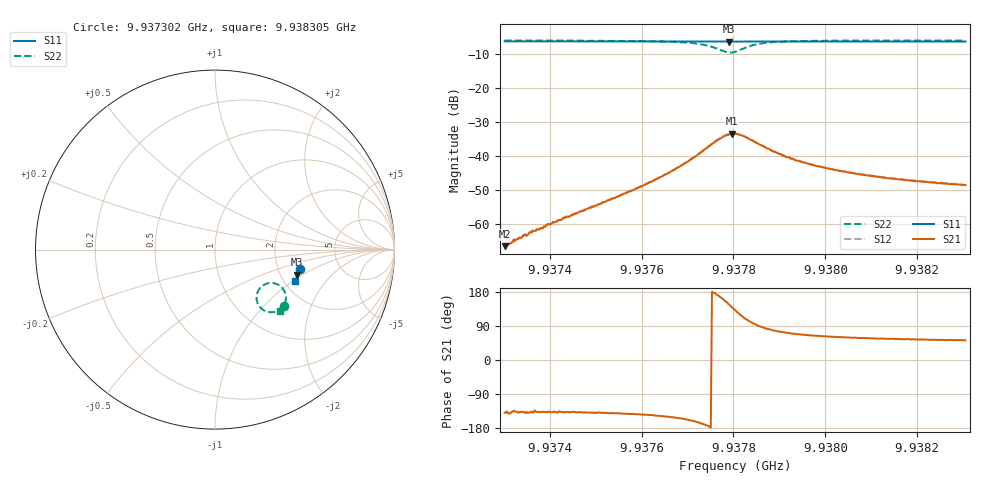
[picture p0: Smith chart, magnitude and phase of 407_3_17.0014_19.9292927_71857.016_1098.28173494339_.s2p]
#  HZ  S  RI  R  50.00
! Rohde & Schwarz Vector Network Analyzer
! Rohde-Schwarz,ZNB20-2Port,1311601062101988,3.16
! Created: UTC 3/20/2024, 11:10:18 PM
! freq[Hz]  re:S11  im:S11  re:S21  im:S21  re:S12  im:S12  re:S22  im:S22
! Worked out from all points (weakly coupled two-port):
!   401 points, 9.937302 GHz to 9.938305 GHz, reference 50 ohm
!   highest |S21| = -33.37 dB at 9.937796 GHz (marker M1); lowest = -66.4 dB at 9.937302 GHz (marker M2)
!   lowest |S11| = -6.4 dB at 9.937791 GHz (marker M3), VSWR 2.84, Z = 123 - j44.6 ohm
!   |S11| at or under -10 dB: nowhere
!   |S22| runs from -9.6 to -6.1 dB; largest |S21 - S12| = 0.00096
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9.9373019e9  0.4712 -0.1086  -0.000363 -0.000314  -0.000381 -0.000329  0.3839 -0.3168
9.937312e9  0.471 -0.1094  -0.000404 -0.000321  -0.000403 -0.000349  0.3832 -0.3176
9.9373195e9  0.4708 -0.1097  -0.000408 -0.000381  -0.000431 -0.000348  0.3825 -0.3181
9.9373621e9  0.47 -0.1126  -0.000579 -0.000515  -0.000617 -0.000555  0.3792 -0.3212
9.9373797e9  0.4696 -0.1136  -0.000644 -0.000591  -0.000636 -0.000586  0.3779 -0.3227
9.9373922e9  0.4693 -0.1146  -0.000703 -0.000658  -0.000694 -0.000643  0.3765 -0.3235
9.9374699e9  0.4677 -0.1199  -0.00115 -0.00106  -0.0012 -0.00104  0.3689 -0.33
9.9375802e9  0.4652 -0.1271  -0.00249 -0.00194  -0.00253 -0.00191  0.3518 -0.3402
9.9376379e9  0.4636 -0.1312  -0.00406 -0.0026  -0.00413 -0.00257  0.3361 -0.346
9.9376931e9  0.4621 -0.1347  -0.0071 -0.00319  -0.00725 -0.00312  0.3085 -0.3491
9.9377357e9  0.4606 -0.1377  -0.0122 -0.00216  -0.0123 -0.00197  0.2688 -0.3363
9.9377708e9  0.4588 -0.1394  -0.0175 0.00429  -0.0179 0.00481  0.2323 -0.2792
9.9377909e9  0.4582 -0.1396  -0.0173 0.0116  -0.0174 0.0123  0.2458 -0.2213
9.9377959e9  0.4582 -0.1398  -0.0165 0.0137  -0.0162 0.0142  0.2563 -0.209
9.9378034e9  0.4581 -0.1399  -0.0142 0.0157  -0.0139 0.0163  0.2765 -0.1946
9.937821e9  0.4584 -0.1405  -0.00787 0.0182  -0.00748 0.0185  0.3276 -0.187
9.9378586e9  0.4586 -0.1433  0.000573 0.0147  0.000821 0.0148  0.385 -0.2285
9.9379112e9  0.4577 -0.1471  0.0029 0.0096  0.00323 0.00962  0.395 -0.2736
9.9379714e9  0.4564 -0.1513  0.0032 0.00673  0.00335 0.00679  0.3896 -0.299
9.9380542e9  0.4543 -0.157  0.00293 0.00492  0.00308 0.00489  0.3809 -0.3167
9.9381394e9  0.4518 -0.1626  0.00266 0.0039  0.00281 0.00394  0.373 -0.328
9.9383049e9  0.4473 -0.1731  0.00235 0.00296  0.00242 0.00298  0.3606 -0.3423
